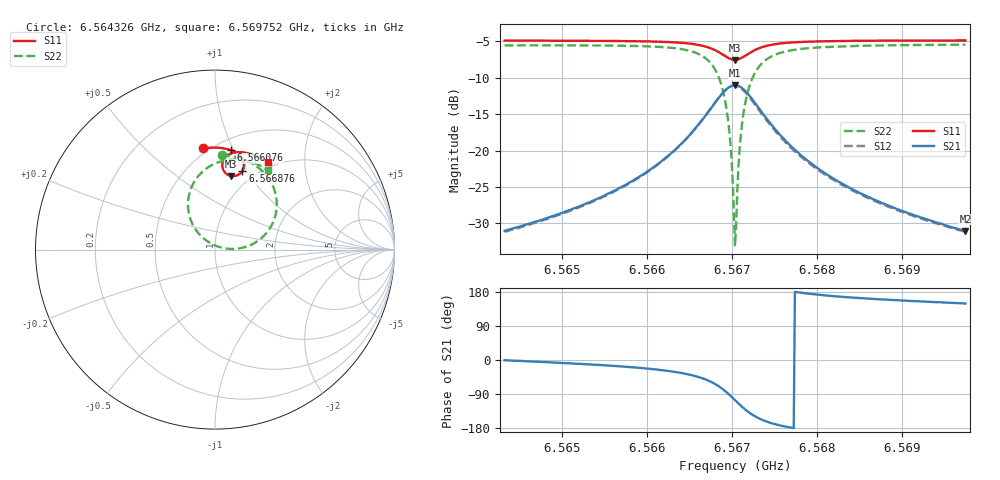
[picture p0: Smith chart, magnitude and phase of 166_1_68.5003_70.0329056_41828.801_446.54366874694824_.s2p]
#  HZ  S  RI  R  50.00
! Rohde & Schwarz Vector Network Analyzer
! Rohde-Schwarz,ZNB20-2Port,1311601062101988,3.16
! Created: UTC 3/20/2024, 4:55:59 PM
! freq[Hz]  re:S11  im:S11  re:S21  im:S21  re:S12  im:S12  re:S22  im:S22
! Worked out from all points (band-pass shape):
!   401 points, 6.564326 GHz to 6.569752 GHz, reference 50 ohm
!   highest |S21| = -11.02 dB at 6.567039 GHz (marker M1); lowest = -31.1 dB at 6.569752 GHz (marker M2)
!   |S21| within 3 dB of the highest: 6.566767 GHz to 6.56731 GHz (542.5 kHz wide, 0.00826 % of centre)
!   lowest |S11| = -7.5 dB at 6.567039 GHz (marker M3), VSWR 2.45, Z = 41.1 + j41 ohm
!   |S11| at or under -10 dB: nowhere
!   |S22| runs from -33.1 to -5.4 dB; largest |S21 - S12| = 0.013
!   S11 on the Smith chart (normalised r, x): 6.564326 GHz: 0.47, +0.78; 6.566076 GHz: 0.60, +0.97; 6.566876 GHz: 0.86, +0.96; 6.569752 GHz: 0.91, +1.32
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6.5643264e9  -0.0647 0.5656  0.0281 -0.000303  0.0277 -0.000793  0.0363 0.5269
6.5652352e9  0.00976 0.568  0.0413 -0.00764  0.0406 -0.00814  0.1226 0.5133
6.5660761e9  0.0882 0.5545  0.0698 -0.0314  0.0688 -0.0321  0.2324 0.4632
6.566144e9  0.0954 0.5519  0.0737 -0.0358  0.0725 -0.0365  0.244 0.4545
6.5664424e9  0.1299 0.5326  0.0947 -0.0682  0.0933 -0.0696  0.303 0.39
6.5666594e9  0.1551 0.5014  0.1087 -0.1229  0.1061 -0.1254  0.3422 0.2844
6.5667815e9  0.1616 0.47  0.1009 -0.1778  0.0963 -0.1811  0.3336 0.1795
6.5668764e9  0.1525 0.4385  0.0676 -0.2317  0.0598 -0.235  0.2738 0.0783
6.5669578e9  0.1266 0.415  0.00641 -0.2697  -0.00475 -0.2695  0.161 0.0122
6.5669849e9  0.1144 0.4107  -0.0202 -0.2751  -0.0321 -0.2734  0.1125 0.00387
6.5670256e9  0.0943 0.4095  -0.0629 -0.2739  -0.0749 -0.2688  0.0367 0.0108
6.5670392e9  0.0875 0.4106  -0.0769 -0.2705  -0.0887 -0.2645  0.012 0.0184
6.5670527e9  0.081 0.4126  -0.0909 -0.2656  -0.1021 -0.2586  -0.0117 0.0284
6.5670663e9  0.0747 0.4151  -0.1039 -0.2597  -0.1146 -0.2517  -0.0338 0.0408
6.5670934e9  0.0634 0.4222  -0.1277 -0.2443  -0.1369 -0.2347  -0.0733 0.0711
6.5671341e9  0.0505 0.4364  -0.1554 -0.215  -0.1619 -0.2039  -0.1172 0.1263
6.5671884e9  0.0417 0.4581  -0.1765 -0.1718  -0.1793 -0.1606  -0.1462 0.2046
6.5672562e9  0.0418 0.4833  -0.1822 -0.1224  -0.1818 -0.1125  -0.1472 0.2912
6.5675003e9  0.0792 0.5312  -0.1401 -0.0277  -0.137 -0.0235  -0.0502 0.4502
6.567948e9  0.1419 0.5431  -0.08 0.00864  -0.0782 0.00969  0.086 0.5003
6.5688567e9  0.2266 0.5224  -0.0388 0.0149  -0.0379 0.0153  0.2165 0.4823
6.5697519e9  0.2928 0.4902  -0.024 0.0143  -0.0236 0.0144  0.295 0.4458
